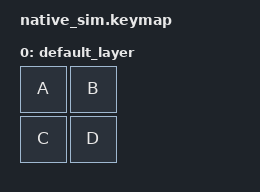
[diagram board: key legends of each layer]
#include <dt-bindings/zmk/keys.h>
#include <behaviors.dtsi>
#include <dt-bindings/zmk/kscan_mock.h>

/ {
    combos {
        compatible = "dax,runtime-combo-defaults";
        combo_one {
            timeout-ms = <80>;
            key-positions = <0 1 2 3>;
            bindings = <&kp Z>;
        };
    };

    keymap {
        compatible = "zmk,keymap";

        default_layer {
            bindings = <
                &kp A &kp B
                &kp C &kp D
            >;
        };
    };
};

&kscan {
    events = <
        ZMK_MOCK_PRESS(1,1,10)
        ZMK_MOCK_PRESS(0,1,10)
        ZMK_MOCK_PRESS(1,0,10)
        ZMK_MOCK_PRESS(0,0,10)
        ZMK_MOCK_RELEASE(0,0,100)
        ZMK_MOCK_RELEASE(1,0,100)
        ZMK_MOCK_RELEASE(0,1,100)
        ZMK_MOCK_RELEASE(1,1,100)
    >;
};
